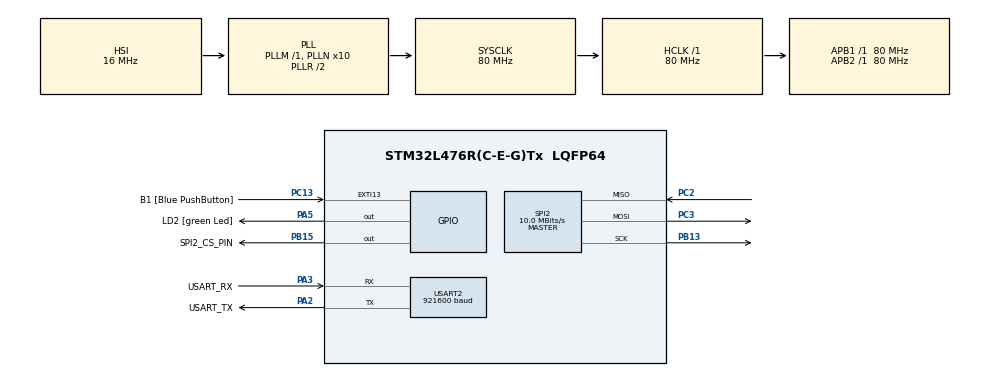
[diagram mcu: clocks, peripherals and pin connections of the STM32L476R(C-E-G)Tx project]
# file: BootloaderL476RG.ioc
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Mcu.Family=STM32L4
Mcu.Name=STM32L476R(C-E-G)Tx
Mcu.Package=LQFP64
NVIC.PriorityGroup=NVIC_PRIORITYGROUP_4
PA13\ (JTMS-SWDIO).GPIO_Label=TMS
PA13\ (JTMS-SWDIO).Signal=SYS_JTMS-SWDIO
PA14\ (JTCK-SWCLK).GPIO_Label=TCK
PA14\ (JTCK-SWCLK).Signal=SYS_JTCK-SWCLK
PA2.GPIO_Label=USART_TX
PA2.GPIO_Mode=GPIO_MODE_AF_PP
PA2.GPIO_PuPd=GPIO_NOPULL
PA2.GPIO_Speed=GPIO_SPEED_FREQ_VERY_HIGH
PA2.Mode=Asynchronous
PA2.Signal=USART2_TX
PA3.GPIO_Label=USART_RX
PA3.GPIO_Mode=GPIO_MODE_AF_PP
PA3.GPIO_PuPd=GPIO_NOPULL
PA3.GPIO_Speed=GPIO_SPEED_FREQ_VERY_HIGH
PA3.Mode=Asynchronous
PA3.Signal=USART2_RX
PA5.GPIO_Label=LD2 [green Led]
PA5.GPIO_ModeDefaultOutputPP=GPIO_MODE_OUTPUT_PP
PA5.GPIO_PuPd=GPIO_NOPULL
PA5.GPIO_Speed=GPIO_SPEED_FREQ_LOW
PA5.Signal=GPIO_Output
PB13.Mode=Full_Duplex_Master
PB13.Signal=SPI2_SCK
PB15.GPIO_Label=SPI2_CS_PIN
PB15.Signal=GPIO_Output
PB3\ (JTDO-TRACESWO).GPIO_Label=SWO
PB3\ (JTDO-TRACESWO).Signal=SYS_JTDO-SWO
PC13.GPIO_Label=B1 [Blue PushButton]
PC13.GPIO_ModeDefaultEXTI=GPIO_MODE_IT_FALLING
PC13.GPIO_PuPd=GPIO_NOPULL
PC13.Signal=GPXTI13
PC14-OSC32_IN\ (PC14).Signal=RCC_OSC32_IN
PC15-OSC32_OUT\ (PC15).Signal=RCC_OSC32_OUT
PC2.Mode=Full_Duplex_Master
PC2.Signal=SPI2_MISO
PC3.Mode=Full_Duplex_Master
PC3.Signal=SPI2_MOSI
PH0-OSC_IN\ (PH0).Signal=RCC_OSC_IN
PH1-OSC_OUT\ (PH1).Signal=RCC_OSC_OUT
ProjectManager.HeapSize=0x200
ProjectManager.StackSize=0x400
ProjectManager.TargetToolchain=SW4STM32
RCC.ADCFreq_Value=64000000
RCC.AHBFreq_Value=80000000
RCC.APB1Freq_Value=80000000
RCC.APB1TimFreq_Value=80000000
RCC.APB2Freq_Value=80000000
RCC.APB2TimFreq_Value=80000000
RCC.CortexFreq_Value=80000000
RCC.HCLKFreq_Value=80000000
RCC.HSE_VALUE=8000000
RCC.HSI_VALUE=16000000
RCC.LSE_VALUE=32768
RCC.MSI_VALUE=4000000
RCC.PLLN=10
RCC.PLLSourceVirtual=RCC_PLLSOURCE_HSI
RCC.PREFETCH_ENABLE=1
RCC.SYSCLKFreq_VALUE=80000000
RCC.SYSCLKSource=RCC_SYSCLKSOURCE_PLLCLK
RCC.USBFreq_Value=64000000
RCC.VCOOutputFreq_Value=160000000
SPI2.BaudRatePrescaler=SPI_BAUDRATEPRESCALER_8
SPI2.CalculateBaudRate=10.0 MBits/s
SPI2.DataSize=SPI_DATASIZE_8BIT
SPI2.Direction=SPI_DIRECTION_2LINES
SPI2.Mode=SPI_MODE_MASTER
SPI2.VirtualType=VM_MASTER
USART2.BaudRate=921600
USART2.VirtualMode-Asynchronous=VM_ASYNC
USART2.WordLength=WORDLENGTH_8B
board=NUCLEO-L476RG

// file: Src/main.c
/**
  ******************************************************************************
  * File Name          : main.c
  * Description        : Main program body
  ******************************************************************************
  ** This notice applies to any and all portions of this file
  * that are not between comment pairs USER CODE BEGIN and
  * USER CODE END. Other portions of this file, whether
  * inserted by the user or by software development tools
  * are owned by their respective copyright owners.
  *
  * COPYRIGHT(c) 2017 STMicroelectronics
  *
  * Redistribution and use in source and binary forms, with or without modification,
  * are permitted provided that the following conditions are met:
  *   1. Redistributions of source code must retain the above copyright notice,
  *      this list of conditions and the following disclaimer.
  *   2. Redistributions in binary form must reproduce the above copyright notice,
  *      this list of conditions and the following disclaimer in the documentation
  *      and/or other materials provided with the distribution.
  *   3. Neither the name of STMicroelectronics nor the names of its contributors
  *      may be used to endorse or promote products derived from this software
  *      without specific prior written permission.
  *
  * THIS SOFTWARE IS PROVIDED BY THE COPYRIGHT HOLDERS AND CONTRIBUTORS "AS IS"
  * AND ANY EXPRESS OR IMPLIED WARRANTIES, INCLUDING, BUT NOT LIMITED TO, THE
  * IMPLIED WARRANTIES OF MERCHANTABILITY AND FITNESS FOR A PARTICULAR PURPOSE ARE
  * DISCLAIMED. IN NO EVENT SHALL THE COPYRIGHT HOLDER OR CONTRIBUTORS BE LIABLE
  * FOR ANY DIRECT, INDIRECT, INCIDENTAL, SPECIAL, EXEMPLARY, OR CONSEQUENTIAL
  * DAMAGES (INCLUDING, BUT NOT LIMITED TO, PROCUREMENT OF SUBSTITUTE GOODS OR
  * SERVICES; LOSS OF USE, DATA, OR PROFITS; OR BUSINESS INTERRUPTION) HOWEVER
  * CAUSED AND ON ANY THEORY OF LIABILITY, WHETHER IN CONTRACT, STRICT LIABILITY,
  * OR TORT (INCLUDING NEGLIGENCE OR OTHERWISE) ARISING IN ANY WAY OUT OF THE USE
  * OF THIS SOFTWARE, EVEN IF ADVISED OF THE POSSIBILITY OF SUCH DAMAGE.
  *
  ******************************************************************************
  */
#include "main.h"
#include "stm32l4xx_hal.h"
#include "spi.h"
#include "usart.h"
#include "gpio.h"

/* USER CODE BEGIN Includes */
#include "spi_flash.h"
#include "stm32_hal_legacy.h"

/* USER CODE END Includes */

/* USER CODE BEGIN PV */
//
static __RAM_FUNC updateBaseFirmware(void);
static __RAM_FUNC myFMC_Erase(uint32_t u32addr);
static __RAM_FUNC FMC_ProgramPage(uint32_t u32startAddr, uint32_t * u32buff);
void CHECK_AND_SET_FLASH_PROTECTION(void);
uint8_t writeSPIFlashSector(uint16_t sectorNum, uint16_t lenByte, void* buff);

#define CONF_MAX_STRING_LENGTH_13   	13
#define DFUVERSION_DATASIZE				CONF_MAX_STRING_LENGTH_13
/* Private variables ---------------------------------------------------------*/
/* Status of Disk Functions */
typedef unsigned char	BYTE;
typedef BYTE	DSTATUS;

	//Firmware Information
	typedef struct {
		uint32_t BaseFirmwareTag;
		uint32_t BaseFirmwareChecksum;
		uint32_t BaseFirmwareSize;
		uint8_t  BaseFirmwareVersion[DFUVERSION_DATASIZE];
		uint8_t  BaseFirmwareRunFlag; // 5A- flag that it has been run, any other value represent it is a first run
		uint32_t NewFirmwareTag;         // for bootloader
		uint32_t NewFirmwareChecksum;
		uint32_t NewFirmwareSize;
		uint8_t  NewFirmwareVersion[DFUVERSION_DATASIZE];// for bootloader
		uint8_t  NewFirmwareRunFlag; // 5A- flag that it has been run, any other value represent it is a first run
		uint8_t  BootloaderDoneFlag; // 5A- flag that it has been run successfully, any other value represent opposite
		uint8_t  RunningFirmwareVersion[DFUVERSION_DATASIZE];
		// for bootloader NOTE: Do not change this location above structure element it should be at first location
		//$$$$$$$$$##################IF YOU CHANGE BOOTLOADER AND FIRMWARE DFU will never work !!!!!!!!!!!!
	}__attribute__ ((packed))FirmwareInfoTypes;

FirmwareInfoTypes FirmwareInfo;

/* Results of Disk Functions */
typedef enum {
	RES_OK = 0,		/* 0: Successful */
	RES_ERROR,		/* 1: R/W Error */
	RES_WRPRT,		/* 2: Write Protected */
	RES_NOTRDY,		/* 3: Not Ready */
	RES_PARERR		/* 4: Invalid Parameter */
} DRESULT;
/* Disk Status Bits (DSTATUS) */

#define STA_NOINIT		0x01	/* Drive not initialized */
#define STA_NODISK		0x02	/* No medium in the drive */
#define STA_PROTECT		0x04	/* Write protected */

static volatile DSTATUS Stat = STA_NOINIT;
struct spi_flash *spiflashmem;

#define USER_FLASH_START		0x08006000
#define IFLASH_PAGESIZE         FLASH_PAGE_SIZE //1024  //for internal flash

#define SPIFLASHPAGESIZE		256

#define FLASHTOTALNOOFSECTOR				1024 //sectors
#define FLASHSECTORSIZEBYTES				4096 //bytes
#define FLASHPAGESIZEBYTES					256
#define FLASHNOOFPAGEINSECTOR				FLASHSECTORSIZEBYTES//

#define FLASHWRITE_RETRY			5

#define SUCCESS			0
#define FOUND			0
#define EMPTY			1
#define NOTFOUND		2

#define SPIFLASH_ERROR			255
//#define ERROR					255

#define CONFIGDATA_SECTORSTART				0 //NEVER CHANGE THIS, USED BY BOOTLOADER
#define CONFIGDATA_SECTORSIZE				4 //NEVER CHANGE THIS, USED BY BOOTLOADER
#define BASEFIRMWARE_SECTORSTART			(CONFIGDATA_SECTORSTART+CONFIGDATA_SECTORSIZE)
#define BASEFIRMWARE_SECTORSIZE				58
#define NEWFIRMWARE_SECTORSTART				(BASEFIRMWARE_SECTORSTART+BASEFIRMWARE_SECTORSIZE)
#define NEWFIRMWARE_SECTORSIZE				58

#define FIRMWARE_MAX_SIZE					0x3A000 //i.e 232K bytes (58 Sector of 4096 byte sector size)

#define SPIFLASH_SIZE_MAX	(4*1024*1024)//4Mbytes

#define FLASH_TOTAL_PAGES 128  // 258K/2K = 128 pages
#define NOOFBOOTLOADERPAGE 12   //24K/2K= 12 pages
#define ENABLE_BOOTLOADER_PROTECTION 0
#define FIRST_PAGE_TO_PROTECT 0
#define LAST_PAGE_TO_PROTECT (NOOFBOOTLOADERPAGE-1) //32K i.e 16 pages

#define FIRMWARE_STATUS_OFFSET			(1)
#define FIRMWARE_FILE_SIZE_OFFSET		(2)
#define FIRMWARE_CRC_OFFSET				(3)
#define FIRMWARE_START_ADDR_OFFSET		(4)
#define FIRMWARE_ERR_ADDR_OFFSET		(5)

uint8_t IFlashPageBuffer[4096];

uint32_t memAddr = 0;
uint32_t flashCheckSum;
uint8_t retn=0;

FLASH_OBProgramInitTypeDef FlashOBstatus;
uint32_t FlashOBreg;
/* USER CODE END PV */

void SystemClock_Config(void);

/* USER CODE BEGIN PFP */

uint8_t NVwriteConfigDB(FirmwareInfoTypes *Config,uint16_t size);
uint8_t NVreadConfigDB(FirmwareInfoTypes *Config,uint16_t size);

/* Private function prototypes -----------------------------------------------*/
uint8_t SPIFlashRead(uint32_t address, uint32_t byteLen, void *databuff)
{
	uint8_t *buffer;
	buffer=(uint8_t*)databuff;
	PRINTF("\n\rBOOTLOADER : SPIFlash Read @Address =%u , len=%u",address,byteLen);
	if(0==spiflashmem->read(spiflashmem, address,byteLen,buffer))
		return SUCCESS;
	else
		return SPIFLASH_ERROR;
}
uint8_t SPIFlashErase(uint32_t address, uint32_t byteLen)
{

	if(0==spiflashmem->erase(spiflashmem, address,byteLen))
		return SUCCESS;
	else
		return SPIFLASH_ERROR;
}
uint8_t SPIFlashWrite(uint32_t address, uint32_t byteLen, void *databuff)
{
	uint8_t *buffer;
	buffer=(uint8_t*)databuff;
	//PRINTF("\n\rBOOTLOADER : SPIFlash Write @Address =%u , len=%u",address,byteLen);
	if(0==spiflashmem->write(spiflashmem, address,byteLen,buffer))
		return SUCCESS;
	else
		return SPIFLASH_ERROR;
}

uint8_t CfgCalcCheckSum(uint8_t *buff, uint32_t length)
{
	uint32_t i;
	uint8_t crc = 0;
	for(i = 0;i < length; i++)
	{
		crc += buff[i];
	}
	return crc;
}

typedef  void (*pFunction)(void);
pFunction Jump_To_Application;
uint32_t JumpAddress;

void execute_user_code(void)
{
	//SysDeInit();
	uint32_t appAddress;
	appAddress=USER_FLASH_START;
	PRINTF("\n\rBOOTLOADER : Executing User Program....@ 0x%08X\n\n\n\n\n\n\r",appAddress);

	  /* Jump to user application */
	  JumpAddress = *(__IO uint32_t*) (appAddress + 4);
	  Jump_To_Application = (pFunction) JumpAddress;
	  /* Initialize user application's Stack Pointer */
	    // Relocate the vector table
	    SCB->VTOR = (uint32_t) appAddress;
	  __set_MSP(*(__IO uint32_t*) appAddress);
		HAL_DeInit();
	  Jump_To_Application();

}
/* USER CODE END PFP */

int main(void)
{

  /* USER CODE BEGIN 1 */
	DRESULT res = RES_ERROR;
	int ret=0;

	int32_t i = 3000000,j = 0;

  /* USER CODE END 1 */

  /* MCU Configuration----------------------------------------------------------*/

  /* Reset of all peripherals, Initializes the Flash interface and the Systick. */
  HAL_Init();
  HAL_Delay(100);
  HAL_Init();

  /* Configure the system clock */
  SystemClock_Config();

  /* Initialize all configured peripherals */
  MX_GPIO_Init();
  MX_SPI2_Init();
  MX_USART2_UART_Init();

  /* USER CODE BEGIN 2 */

#if ENABLE_BOOTLOADER_PROTECTION
/* Ensures that the first sector of flash is write-protected preventing that the
bootloader is overwritten */
CHECK_AND_SET_FLASH_PROTECTION();
#endif

//HAL_FLASHEx_OBGetConfig(&FlashOBstatus);
//*((uint8_t*)0x1FFF7800)=0xFFEFF8AA; //Factory Default
//FlashOBreg=*((uint8_t*)0x1FFF7800);
  Stat = STA_NOINIT;

  spiflashmem->spi =spi_setup_slave();

  spiflashmem =spi_flash_probe();

  if(spiflashmem != NULL)
  {
    Stat &= ~STA_NOINIT;
  }
  /* USER CODE END 2 */

  /* Infinite loop */
  /* USER CODE BEGIN WHILE */

	PRINTF("\n\rBOOTLOADER : Starting ......");
//	u32Pt = (uint32_t *)IFlashPageBuffer;
//	SST25_Init();
//	SST25_Read(FIRMWARE_INFO_ADDR + FIRMWARE_STATUS_OFFSET*4,IFlashPageBuffer,4);
	if(HAL_FLASH_Unlock()!=HAL_OK)
	{
		PRINTF("\n\rBOOTLOADER : Error to unlock Internal Flash");
		execute_user_code();
	}

	//Read the configuration data section where firmware member contains firmware Info
	ret=NVreadConfigDB(&FirmwareInfo,sizeof(FirmwareInfoTypes));
	if(ret == 0)
			  res = RES_OK;
	PRINTF("\n\rBOOTLOADER : New Firmware Tag= 0x%08X , BaseFirmwareTag=0x%08x",FirmwareInfo.NewFirmwareTag, FirmwareInfo.BaseFirmwareTag);

	//Check New Firmware is available or not , if not available
	if(FirmwareInfo.NewFirmwareTag != 0x5A5A5A5A)
	{
		HAL_FLASH_Lock();
		//proceed to check Base firmware check
	}
	else
	{

		PRINTF("\n\rBOOTLOADER : Flashing NEW FIRMWARE FROM SPI FLASH");
		PRINTF("\n\rBOOTLOADER : New Firmware Size-%u checksum-%u",FirmwareInfo.NewFirmwareSize,FirmwareInfo.NewFirmwareChecksum );

		flashCheckSum = 0;
		i=0;//FIRMWARE_MAX_SIZE
		//for(i = 0; i < FirmwareInfo.NewFirmwareSize;i += IFLASH_PAGESIZE)
		for(i = 0; i < FIRMWARE_MAX_SIZE;i += IFLASH_PAGESIZE)
		{
			//SST25_Read(i + FIRMWARE_BASE_ADDR,IFlashPageBuffer, IFLASH_PAGESIZE);
			//spiflashmem->read(spiflashmem, (64*FLASHSECTORSIZEBYTES),IFLASH_PAGESIZE,IFlashPageBuffer);
			PRINTF("\n\rBOOTLOADER : Program Page : %d of %d from SPIFLash adrss=%u",( i/IFLASH_PAGESIZE),(FirmwareInfo.NewFirmwareSize/IFLASH_PAGESIZE),(i + (NEWFIRMWARE_SECTORSTART*FLASHSECTORSIZEBYTES)) );

			ret=SPIFlashRead( (i + (NEWFIRMWARE_SECTORSTART*FLASHSECTORSIZEBYTES)), IFLASH_PAGESIZE, IFlashPageBuffer);
			for(j = 0 ; j < IFLASH_PAGESIZE;j++)
			{
				flashCheckSum += IFlashPageBuffer[j];
			}
			myFMC_Erase((uint32_t)(USER_FLASH_START + i));
			FMC_ProgramPage((USER_FLASH_START + i),(uint8_t*)IFlashPageBuffer);
			memAddr = (uint32_t)(USER_FLASH_START + i);//pointer/address of Internal just written
			if(memcmp((uint8_t*)IFlashPageBuffer, (uint8_t*)memAddr , IFLASH_PAGESIZE) != NULL)
			{
				PRINTF("\n\rBOOTLOADER :  $$%%% ERROR write @ %08x, index=0x%08x",memAddr,i);
				break;
			}
			HAL_Delay(10);
		}

		PRINTF("\n\rBOOTLOADER :  Calc Checksum=%d , StoreChecksum=%d",flashCheckSum ,FirmwareInfo.NewFirmwareChecksum);
		if(flashCheckSum == FirmwareInfo.NewFirmwareChecksum)
		{
			PRINTF("\n\rBOOTLOADER : Flashing NEW FIRMWARE FROM SPI FLASH DONE SUCCCESSFULLY");
			//clear the tag of New Firmware
			FirmwareInfo.NewFirmwareTag=0;
			for(int l=0;l<CONF_MAX_STRING_LENGTH_13;l++)
				FirmwareInfo.RunningFirmwareVersion[l]=FirmwareInfo.NewFirmwareVersion[l];
			FirmwareInfo.BootloaderDoneFlag=0x5A;// to flag user application that New Firmware programmed successfully
		}
		else // Fallback machenism to Base Firmware kick in here
		{
			PRINTF("\n\n\n\rBOOTLOADER :  ERROR MISMATCH CHECKSUM OR WRITE ERROR");//try flash Base firmware
			PRINTF("\n\n\rBOOTLOADER :  FALL BACK TO BASEFIRMWARE");//try flash Base firmware
			//FALLBACK TO BASE FRIMWARE
			if(FirmwareInfo.BaseFirmwareTag == 0x5A5A5A5A)//check presence of BaseFirmware
			{
				flashCheckSum = 0;

				i=0;//FIRMWARE_MAX_SIZE
				//for(i = 0; i < FirmwareInfo.NewFirmwareSize;i += IFLASH_PAGESIZE)
				for(i = 0; i < FIRMWARE_MAX_SIZE;i += IFLASH_PAGESIZE)
				{
					//SST25_Read(i + FIRMWARE_BASE_ADDR,IFlashPageBuffer, IFLASH_PAGESIZE);
					//spiflashmem->read(spiflashmem, (64*FLASHSECTORSIZEBYTES),IFLASH_PAGESIZE,IFlashPageBuffer);
					PRINTF("\n\rBOOTLOADER : Program Page : %d of %d",( i/IFLASH_PAGESIZE),(FirmwareInfo.BaseFirmwareSize/IFLASH_PAGESIZE) );
					ret=SPIFlashRead( (i + (BASEFIRMWARE_SECTORSTART*FLASHSECTORSIZEBYTES)), IFLASH_PAGESIZE, IFlashPageBuffer);

					for(j = 0 ; j < IFLASH_PAGESIZE;j++)//calculate checksum
					{
						if(i + j < FirmwareInfo.BaseFirmwareSize)
							flashCheckSum += IFlashPageBuffer[j];
						else
							break;
					}
					myFMC_Erase((uint32_t)(USER_FLASH_START + i));
					FMC_ProgramPage((USER_FLASH_START + i),(uint8_t*)IFlashPageBuffer);
					memAddr = (uint32_t)(USER_FLASH_START + i);//pointer/address of Internal just written
					if(memcmp((uint8_t*)IFlashPageBuffer, (uint8_t*)memAddr , IFLASH_PAGESIZE) != NULL)
					{
						PRINTF("\n\rBOOTLOADER :  $$%%% ERROR write @ %08x",memAddr);
						break;
					}
					HAL_Delay(50);
				}

				if(flashCheckSum == FirmwareInfo.BaseFirmwareChecksum)
					PRINTF("\n\rBOOTLOADER :  MATCHED CHECKSUM OF BASE FIRMWARE",memAddr);
				else
					PRINTF("\n\rBOOTLOADER :  ***** ???? MISMATCHED CHECKSUM OF BASE FIRMWARE",memAddr);
				for(int l=0;l<CONF_MAX_STRING_LENGTH_13;l++)
					FirmwareInfo.RunningFirmwareVersion[l]=FirmwareInfo.BaseFirmwareVersion[l];

			}
			else
				PRINTF("\n\n\rBOOTLOADER :  *** ???? NO BASEFIRMWARE");

			FirmwareInfo.BootloaderDoneFlag=0;// to flag user application that New Firmware NOT programmed
		}
	}

	//Check Base Tag : If no tag, programmed External Base Flash area with That running/new firmware
	if(FirmwareInfo.BaseFirmwareTag != 0x5A5A5A5A)// No tag on base Program the Base from Internal running firmware
	{
		PRINTF("\n\rBOOTLOADER : Copy Current Firmware to Base Firmware Copy on SPIFlash");

		//Copy running firmware to Base Firmware
		FirmwareInfo.BaseFirmwareTag=0x5A5A5A5A;//mark it has been done
		FirmwareInfo.BaseFirmwareChecksum=0;
		FirmwareInfo.BaseFirmwareSize=FIRMWARE_MAX_SIZE;
		FirmwareInfo.BaseFirmwareRunFlag=0x5A; //mark it has run
		for(int i=0;i<DFUVERSION_DATASIZE;i++)
			FirmwareInfo.BaseFirmwareVersion[i]=FirmwareInfo.RunningFirmwareVersion[i];

		//Copy firmware to external flash
		updateBaseFirmware();//checksum calculated inside this function

		//NVwriteConfigDB(&FirmwareInfo,sizeof(FirmwareInfoTypes));
		PRINTF("\n\n\n\rBOOTLOADER : Copy to BaseFirmware area in External SPI Flash Done ***");

	}

	// Store back updated FirmwareInformation to SPI FLash
	retn=NVwriteConfigDB(&FirmwareInfo,sizeof(FirmwareInfoTypes));
	PRINTF("\n\n\n\rBOOTLOADER : Config Write return = %d",retn);
	HAL_FLASH_Lock();
	execute_user_code();

  while (1)
  {
  /* USER CODE END WHILE */

  }

}

/** System Clock Configuration
*/
void SystemClock_Config(void)
{

  RCC_OscInitTypeDef RCC_OscInitStruct;
  RCC_ClkInitTypeDef RCC_ClkInitStruct;
  RCC_PeriphCLKInitTypeDef PeriphClkInit;

    /**Initializes the CPU, AHB and APB busses clocks
    */
  RCC_OscInitStruct.OscillatorType = RCC_OSCILLATORTYPE_HSI;
  RCC_OscInitStruct.HSIState = RCC_HSI_ON;
  RCC_OscInitStruct.HSICalibrationValue = 16;
  RCC_OscInitStruct.PLL.PLLState = RCC_PLL_ON;
  RCC_OscInitStruct.PLL.PLLSource = RCC_PLLSOURCE_HSI;
  RCC_OscInitStruct.PLL.PLLM = 1;
  RCC_OscInitStruct.PLL.PLLN = 10;
  RCC_OscInitStruct.PLL.PLLP = RCC_PLLP_DIV7;
  RCC_OscInitStruct.PLL.PLLQ = RCC_PLLQ_DIV2;
  RCC_OscInitStruct.PLL.PLLR = RCC_PLLR_DIV2;
  if (HAL_RCC_OscConfig(&RCC_OscInitStruct) != HAL_OK)
  {
    _Error_Handler(__FILE__, __LINE__);
  }

    /**Initializes the CPU, AHB and APB busses clocks
    */
  RCC_ClkInitStruct.ClockType = RCC_CLOCKTYPE_HCLK|RCC_CLOCKTYPE_SYSCLK
                              |RCC_CLOCKTYPE_PCLK1|RCC_CLOCKTYPE_PCLK2;
  RCC_ClkInitStruct.SYSCLKSource = RCC_SYSCLKSOURCE_PLLCLK;
  RCC_ClkInitStruct.AHBCLKDivider = RCC_SYSCLK_DIV1;
  RCC_ClkInitStruct.APB1CLKDivider = RCC_HCLK_DIV1;
  RCC_ClkInitStruct.APB2CLKDivider = RCC_HCLK_DIV1;

  if (HAL_RCC_ClockConfig(&RCC_ClkInitStruct, FLASH_LATENCY_4) != HAL_OK)
  {
    _Error_Handler(__FILE__, __LINE__);
  }

  PeriphClkInit.PeriphClockSelection = RCC_PERIPHCLK_USART2;
  PeriphClkInit.Usart2ClockSelection = RCC_USART2CLKSOURCE_PCLK1;
  if (HAL_RCCEx_PeriphCLKConfig(&PeriphClkInit) != HAL_OK)
  {
    _Error_Handler(__FILE__, __LINE__);
  }

    /**Configure the main internal regulator output voltage
    */
  if (HAL_PWREx_ControlVoltageScaling(PWR_REGULATOR_VOLTAGE_SCALE1) != HAL_OK)
  {
    _Error_Handler(__FILE__, __LINE__);
  }

    /**Configure the Systick interrupt time
    */
  HAL_SYSTICK_Config(HAL_RCC_GetHCLKFreq()/1000);

    /**Configure the Systick
    */
  HAL_SYSTICK_CLKSourceConfig(SYSTICK_CLKSOURCE_HCLK);

  /* SysTick_IRQn interrupt configuration */
  HAL_NVIC_SetPriority(SysTick_IRQn, 0, 0);
}

/* USER CODE BEGIN 4 */
void vcom_Send( char *format, ... )
{
  //va_list args;
  __gnuc_va_list args;
  va_start(args, format);

  /*convert into string at buff[0] of length iw*/
  iw = vsprintf(&buff[0], format, args);

  HAL_UART_Transmit(&UART_VCOM_PORT,(uint8_t *)&buff[0], iw, 300);

  va_end(args);
}
__RAM_FUNC updateBaseFirmware(void)
{
	//Copy base firmware if need
	uint8_t * programPtr;
	uint8_t* rambuff;
	uint32_t bytecnt=0,extFlashSectorBytecnt=0;

	uint16_t SectorWriteCnt=0,retrn;
	rambuff=(uint8_t*)malloc(FLASHSECTORSIZEBYTES);
	programPtr=(uint8_t*)USER_FLASH_START;//point to start of application on internal flash
	for(bytecnt=0; bytecnt<FIRMWARE_MAX_SIZE;bytecnt++)
	{

		if(bytecnt!=0 && (bytecnt%FLASHSECTORSIZEBYTES==0))//sector alignment check
		{
			PRINTF("\n\rBOOTLOADER : SPI SECTOR ERASE WRITE @ %d",BASEFIRMWARE_SECTORSTART+SectorWriteCnt);
			//write the buffer to external flash Base Firmware area

			retrn=writeSPIFlashSector((BASEFIRMWARE_SECTORSTART+SectorWriteCnt), FLASHSECTORSIZEBYTES, rambuff);
			if(retrn!=SUCCESS)
			{
				PRINTF("\n\rBOOTLOADER : BASE FIRMWARE COPY ERROR ******");

				//reboot or trap the system here Note: TO DO
			}
			SectorWriteCnt++;
			extFlashSectorBytecnt+=FLASHSECTORSIZEBYTES;

		}
		//PRINTF(",%d:0x%02X",bytecnt,*(programPtr+bytecnt));
		rambuff[bytecnt-extFlashSectorBytecnt]=*(programPtr+bytecnt);
		FirmwareInfo.BaseFirmwareChecksum=FirmwareInfo.BaseFirmwareChecksum + *(programPtr+bytecnt);

	}
	free(rambuff);
}
__RAM_FUNC myFMC_Erase(uint32_t u32addr)
{
	uint16_t  FlashStatus;
	FLASH_EraseInitTypeDef eraseinstance;
	uint32_t PageErrorStatus;
	uint32_t InternalFlashPageNo=0;
//	FlashStatus = FLASH_ErasePage(u32addr);
	InternalFlashPageNo=u32addr-0x08000000;//since we passed abosulte address of Flash
	InternalFlashPageNo=InternalFlashPageNo/IFLASH_PAGESIZE;

	//FLASH_ClearFlag(FLASH_FLAG_EOP|FLASH_FLAG_PGAERR|FLASH_FLAG_PROGERR);
	PRINTF("\n\rBOOTLOADER : Erasing Page %d of Bank1 @Address: 0x%08x",InternalFlashPageNo,u32addr );

	eraseinstance.Banks=1;
	eraseinstance.NbPages=1;
	eraseinstance.Page=InternalFlashPageNo;
	eraseinstance.TypeErase=FLASH_TYPEERASE_PAGES;
	HAL_FLASH_Unlock(); //Unlocks the flash memory
	__HAL_FLASH_CLEAR_FLAG(FLASH_FLAG_EOP | FLASH_FLAG_OPERR | FLASH_FLAG_WRPERR | FLASH_FLAG_PGAERR | FLASH_FLAG_PROGERR | FLASH_FLAG_PGSERR | FLASH_FLAG_SIZERR);
	//FLASH_FlushCaches();
	FLASH_FlushCaches();
	PageErrorStatus=0;
	FlashStatus= HAL_FLASHEx_Erase(&eraseinstance, &PageErrorStatus);
	HAL_FLASH_Lock();
	FlashStatus=0;
	//FLASH_PageErase(InternalFlashPageNo, 1);//pass as argument, page no and Bank 1
	//FlashStatus=FLASH_PageErase(InternalFlashPageNo, 1);//pass as argument, page no and Bank 1
//	if(HAL_OK != FlashStatus)
//	{
//		NVIC_SystemReset();
//	}
}

__RAM_FUNC FMC_ProgramPage(uint32_t u32startAddr, uint32_t * u32buff)
{
	uint16_t  FlashStatus;
    uint32_t i;
    for (i = 0; i < IFLASH_PAGESIZE/8; i++)
    //for (i = 0; i < IFLASH_PAGESIZE/4; i++)
    {
			//FlashStatus = FLASH_ProgramWord(u32startAddr + i*4, u32buff[i]);
    	  /* Check the parameters */
    	  assert_param(IS_FLASH_PROGRAM_ADDRESS(Address));

    	  /* Set PG bit */
    	  SET_BIT(FLASH->CR, FLASH_CR_PG);

//    	  /* Program the word */
//    	  *(__IO uint32_t*)(u32startAddr + i*4) = (uint32_t)u32buff[i];
//			if(u32buff[i] != *(uint32_t*)(u32startAddr + i*4)) //check wrote data lower word
//			{
//				NVIC_SystemReset();
//			}

    	//HAL_FLASHEx_DATAEEPROM_Program(TYPEPROGRAM_FASTWORD,u32startAddr + i*4,(uint32_t *) u32buff[i]);
    	  HAL_FLASH_Unlock();
    	    FlashStatus= HAL_FLASH_Program(FLASH_TYPEPROGRAM_DOUBLEWORD, u32startAddr + i*8, *(uint64_t*)(u32buff+(2*i)));
    	    HAL_FLASH_Lock();
    	    if(HAL_OK != FlashStatus)
			{
				NVIC_SystemReset();
			}
			if(u32buff[2*i] != *(uint32_t*)(u32startAddr + i*8)) //check wrote data lower word
			{
				NVIC_SystemReset();
			}
			if(u32buff[(2*i)+1] != *(uint32_t*)(u32startAddr + (i*8)+4)) //check wrote data higher word
			{
				NVIC_SystemReset();
			}
    }
}

void CHECK_AND_SET_FLASH_PROTECTION(void)
{
	FLASH_OBProgramInitTypeDef obConfig;
	HAL_FLASHEx_OBGetConfig(&obConfig);
	/* If the first sector is not protected */
	if (obConfig.WRPStartOffset == FIRST_PAGE_TO_PROTECT && obConfig.WRPEndOffset == LAST_PAGE_TO_PROTECT)
	{
		HAL_FLASH_Unlock(); //Unlocks flash
		HAL_FLASH_OB_Unlock(); //Unlocks OB
		obConfig.WRPArea = OB_WRPAREA_BANK1_AREAA;
		obConfig.OptionType = OPTIONBYTE_WRP;
		obConfig.WRPStartOffset = FIRST_PAGE_TO_PROTECT;
		obConfig.WRPEndOffset = LAST_PAGE_TO_PROTECT;
		HAL_FLASHEx_OBProgram(&obConfig); //Programs the OB
		HAL_FLASH_OB_Launch(); //Ensures that the new configuration is saved in flash
		HAL_FLASH_OB_Lock(); //Locks OB
		HAL_FLASH_Lock(); //Locks flash
	}
}

uint8_t NVwriteConfigDB(FirmwareInfoTypes *Config,uint16_t size)
{
	uint8_t* buffptr;
	buffptr=(uint8_t*) Config;

	//debug
	PRINTF("\n\rBOOTLOADER : Write Function called : BaseFirmwareTag [0x%08x], NewFirmwareTag [0x%08x]",Config->BaseFirmwareTag,Config->NewFirmwareTag );

	if(size <= FLASHSECTORSIZEBYTES)
	{
		retn=writeSPIFlashSector(CONFIGDATA_SECTORSTART, size,buffptr);
		if(retn==0)
			return SUCCESS;
		else
			return SPIFLASH_ERROR;
	}
	else if(size <= FLASHSECTORSIZEBYTES*2)//it support manager data size more than 1 sector or >4096 bytes
	{
		retn=writeSPIFlashSector(CONFIGDATA_SECTORSTART, FLASHSECTORSIZEBYTES, buffptr);
		//retn|=writeSPIFlashSector((DBManager.SectorStart[RECORDMANAGER]+1),sizeOfmanager-DBManager.FlashSectorSize,bytebybyte+FLASHSECTORSIZEBYTES);
		retn|=writeSPIFlashSector((CONFIGDATA_SECTORSTART+1), size-FLASHSECTORSIZEBYTES, buffptr+FLASHSECTORSIZEBYTES);
		if(retn==0)
			return SUCCESS;
		else
			return SPIFLASH_ERROR;
	}
	else
		return SPIFLASH_ERROR;
}
uint8_t NVreadConfigDB(FirmwareInfoTypes *Config,uint16_t size)
{
	uint8_t* buffptr;
	buffptr=(uint8_t*) Config;
	retn=SPIFlashRead(CONFIGDATA_SECTORSTART*FLASHSECTORSIZEBYTES, size,buffptr);

	//debug
		PRINTF("\n\rBOOTLOADER : Read Function called return:%d ",retn);
	if(retn==0)
		return SUCCESS;
	else
		return SPIFLASH_ERROR;
}

uint8_t writeSPIFlashSector(uint16_t sectorNum, uint16_t lenByte, void* buff)
{

	uint8_t retrycnt=FLASHWRITE_RETRY; //Handle multiple retry of Sector Write
	uint16_t retn=0;
	uint32_t addrs= sectorNum*FLASHSECTORSIZEBYTES;
	uint8_t byteacessBuff[lenByte];

	while(retrycnt!=0)//try multiple write if not successful
	{
		retn=0;
		retn=SPIFlashErase(addrs,FLASHSECTORSIZEBYTES);
		retn|=SPIFlashWrite(addrs,lenByte,(uint8_t *)buff);
		retn|=SPIFlashRead(addrs,lenByte,byteacessBuff);

		if(retn==0 && memcmp((uint8_t *)buff,byteacessBuff,lenByte)==0)
		{

			//PRINTF("\n\rBOOTLOADER : Success Write @%d, len=%d, no of retry=%d \n\r",sectorNum,lenByte,(FLASHWRITE_RETRY-retrycnt));

			return SUCCESS;
		}
		retrycnt--;//decrement for next try if not success
	}

	PRINTF("\n\rBOOTLOADER : Sector Write SPIFLASH_ERROR @%d sector\n\r",sectorNum);

	return SPIFLASH_ERROR;//write fail on a sector
}

//#################### Utility function SECTION

/* USER CODE END 4 */

void _Error_Handler(char * file, int line)
{
  while(1)
  {
  }
}

/************************ (C) COPYRIGHT STMicroelectronics *****END OF FILE****/
